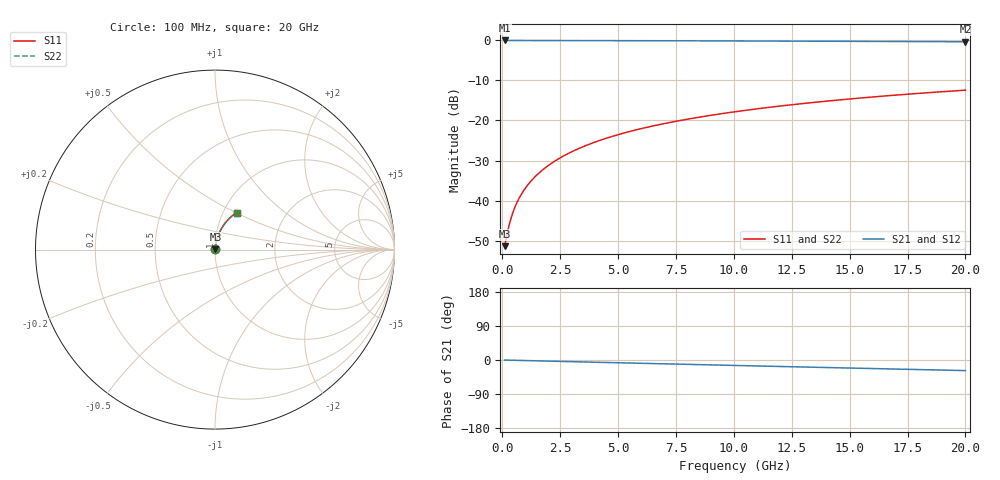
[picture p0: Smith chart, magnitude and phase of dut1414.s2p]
! Touchstone file exported from HFSS 2026.1.0
!  File:  C:/ffzhzh/LocalFiles/Ansys_Project_Files/temp_train_BSMRDL_1414_1783180110_43440.aedt
!  Generated:  11:49:42 PM Jul  4, 2026
!  Design:  BSMRDL
!  Project:  temp_train_BSMRDL_1414_1783180110_43440
! Variables:
!  h_bsmrdl = 4.81um
!  h_ox = 20um
!  h_rdl = 5um
!  h_sub = 80um
!  h_tmrdl = 5um
!  h_tsv = 80um
!  h_via = 3um
!  l_bsmrdl = 423.32um
!  l_sub = 823.32um
!  l_tmrdl = 200um
!  m_sub = 200um
!  pitch = 31.63um
!  r_tsv = 6um
!  s_tmrdl = 10um
!  w_bsmrdl = 14.66um
!  w_sub = 500um
!  w_tmrdl = 12um
!  x_tsv_center1 = 206um
!  x_tsv_center2 = 643.98um
!  x_tsv_center3 = 855.98um
!  x_tsv_center4 = 1293.96um
!  x_tsv_center5 = 1505.96um
!  x_tsv_center6 = 1943.94um
# GHz S MA R 50.000000
! Terminal data exported
! Port[1] = BSM_RDL1_1_T1
! Port[2] = BSM_RDL1_1_T2
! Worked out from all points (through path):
!   200 points, 100 MHz to 20 GHz, reference 50 ohm
!   highest |S21| = -0.02 dB at 100 MHz (marker M1); lowest = -0.3 dB at 20 GHz (marker M2)
!   group delay of S21, straight-line fit = 3.88 ps
!   lowest |S11| = -51.4 dB at 100 MHz (marker M3), VSWR 1.01, Z = 50.2 + j0.15 ohm
!   |S11| at or under -10 dB: start of sweep to end of sweep
!   |S22| runs from -51.4 to -12.4 dB; largest |S21 - S12| = 2.7e-15
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0.1  0.002697 33.6  0.9978 -0.2  0.9978 -0.2  0.002697 33.6
! Gamma 0 0 0 0
! Port Impedance 50 0 50 0
0.2  0.003738 52.6  0.9977 -0.3  0.9977 -0.3  0.00374 52.6
0.3  0.004991 62.4  0.9976 -0.5  0.9976 -0.5  0.004996 62.3
0.4  0.006314 67.9  0.9975 -0.6  0.9975 -0.6  0.006321 67.8
0.5  0.007658 71.3  0.9974 -0.8  0.9974 -0.8  0.007665 71.2
0.6  0.009005 73.5  0.9973 -0.9  0.9973 -0.9  0.009013 73.5
0.8  0.01169 76.2  0.9972 -1.2  0.9972 -1.2  0.0117 76.2
1.1  0.01568 78.4  0.9971 -1.6  0.9971 -1.6  0.01569 78.3
1.5  0.02098 79.7  0.9968 -2.2  0.9968 -2.2  0.02098 79.7
1.8  0.02494 80.2  0.9966 -2.7  0.9966 -2.7  0.02494 80.2
2.1  0.0289 80.4  0.9964 -3.1  0.9964 -3.1  0.0289 80.4
2.7  0.03679 80.4  0.9958 -4.0  0.9958 -4.0  0.03679 80.4
3.5  0.04724 80.0  0.9949 -5.1  0.9949 -5.1  0.04724 80.0
4.2  0.05629 79.3  0.994 -6.2  0.994 -6.2  0.05629 79.3
5  0.06652 78.5  0.9929 -7.3  0.9929 -7.3  0.06652 78.5
5.9  0.07788 77.4  0.9915 -8.6  0.9915 -8.6  0.07788 77.4
6.8  0.0891 76.3  0.9901 -9.9  0.9901 -9.9  0.0891 76.3
8.3  0.1075 74.5  0.9875 -12.0  0.9875 -12.0  0.1075 74.5
10.1  0.1291 72.2  0.9842 -14.5  0.9842 -14.5  0.1291 72.2
13.4  0.1676 68.0  0.9773 -19.1  0.9773 -19.1  0.1676 68.0
16.7  0.2043 63.8  0.9694 -23.5  0.9694 -23.5  0.2043 63.8
20  0.239 59.6  0.9608 -28.0  0.9608 -28.0  0.239 59.6
